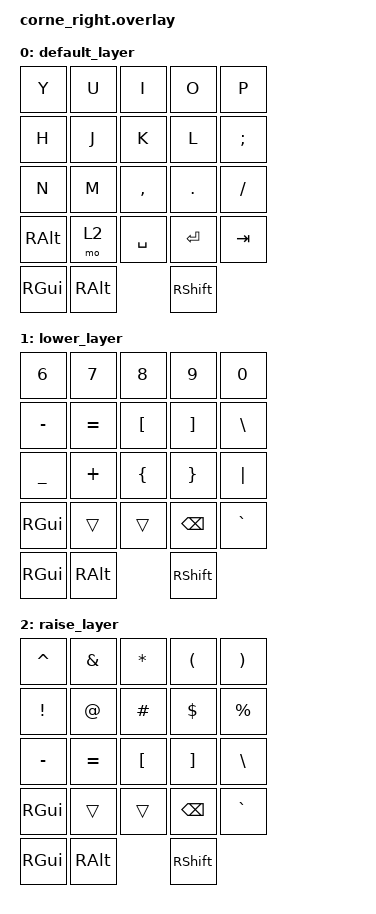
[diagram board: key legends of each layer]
/ {
    // Define the key matrix for the right half
    corne_right {
        compatible = "zmk,keyboard";
        label = "Right Half";

        // Matrix configuration
        matrix {
            rows = <4>;
            cols = <5>;
            row-gpios = <&gpio1 5 GPIO_ACTIVE_LOW>, <&gpio1 6 GPIO_ACTIVE_LOW>, <&gpio1 7 GPIO_ACTIVE_LOW>, <&gpio1 11 GPIO_ACTIVE_LOW>;
            col-gpios = <&gpio0 10 GPIO_ACTIVE_LOW>, <&gpio0 11 GPIO_ACTIVE_LOW>,
                        <&gpio0 12 GPIO_ACTIVE_LOW>, <&gpio0 13 GPIO_ACTIVE_LOW>, <&gpio0 14 GPIO_ACTIVE_LOW>;
        };

        // Define the keymap for the right half
        keymap {
            compatible = "zmk,keymap";

            default_layer {
                bindings = <
                    &kp Y &kp U &kp I &kp O &kp P
                    &kp H &kp J &kp K &kp L &kp SEMI
                    &kp N &kp M &kp COMMA &kp DOT &kp FSLH
                    &kp RALT &mo 2 &kp SPC &kp RET &kp TAB
                    &kp RGUI &kp RALT &kp RSHFT
                >;
            };

            lower_layer {
                bindings = <
                    &kp 6 &kp 7 &kp 8 &kp 9 &kp 0
                    &kp MINUS &kp EQUAL &kp LBKT &kp RBKT &kp BSLH
                    &kp UNDER &kp PLUS &kp LBRC &kp RBRC &kp PIPE
                    &kp RGUI &trans &trans &kp BSPC &kp GRAVE
                    &kp RGUI &kp RALT &kp RSHFT
                >;
            };

            raise_layer {
                bindings = <
                    &kp CARET &kp AMPS &kp ASTRK &kp LPAR &kp RPAR
                    &kp EXCL &kp AT &kp HASH &kp DLLR &kp PRCNT
                    &kp MINUS &kp EQUAL &kp LBKT &kp RBKT &kp BSLH
                    &kp RGUI &trans &trans &kp BSPC &kp GRAVE
                    &kp RGUI &kp RALT &kp RSHFT
                >;
            };
        };
    };
};

